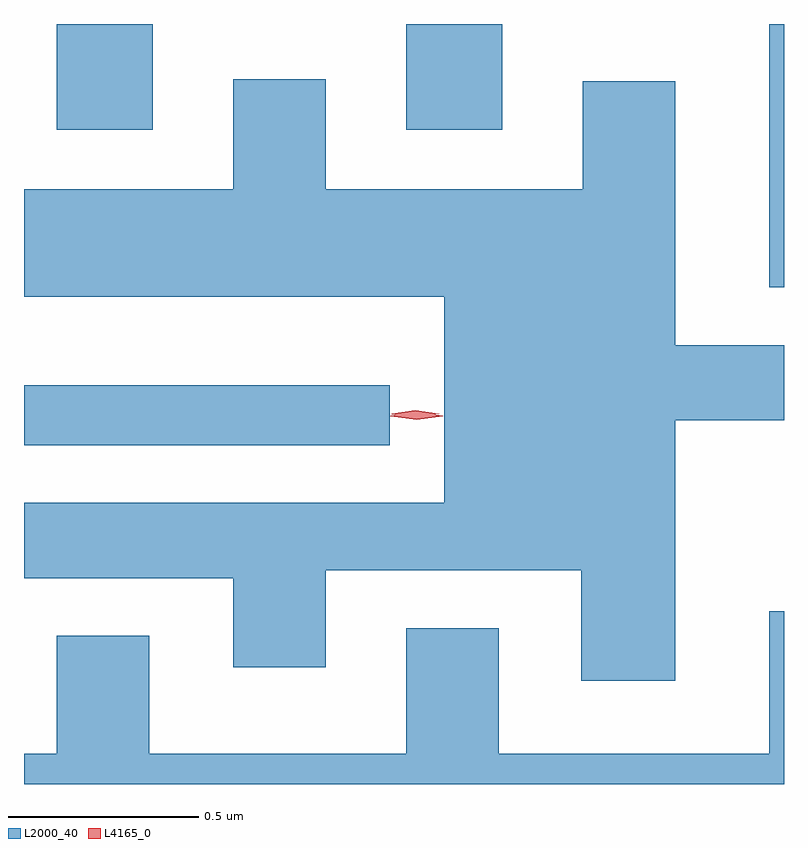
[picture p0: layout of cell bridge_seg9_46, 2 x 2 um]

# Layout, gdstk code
import gdstk
lib = gdstk.Library(unit=1e-6, precision=1e-09)
def R(c, l, rs):  # rectangles x0, y0, x1, y1
    for r in rs: c.add(gdstk.rectangle(r[:2], r[2:], *l))
def P(c, l, *ps):  # polygons
    for p in ps: c.add(gdstk.Polygon(p, *l))
L2000_40 = (2000, 40)
L4165_0 = (4165, 0)

bridge_seg9_46 = lib.new_cell('bridge_seg9_46')
R(bridge_seg9_46, L2000_40, [(1505.345,1984.016,1506.308,1984.174), (1507.306,1984.431,1507.345,1985.124), (1505.431,1984.846,1505.684,1985.124), (1506.351,1984.846,1506.604,1985.124)])
P(bridge_seg9_46, L2000_40, [(1507.059,1984.081),(1507.345,1984.081),(1507.345,1984.279),(1507.059,1984.279),(1507.059,1984.974),(1506.816,1984.974),(1506.816,1984.689),(1506.139,1984.689),(1506.139,1984.979),(1505.896,1984.979),(1505.896,1984.689),(1505.345,1984.689),(1505.345,1984.406),(1506.451,1984.406),(1506.451,1983.864),(1505.345,1983.864),(1505.345,1983.666),(1505.896,1983.666),(1505.896,1983.431),(1506.139,1983.431),(1506.139,1983.686),(1506.811,1983.686),(1506.811,1983.396),(1507.059,1983.396)],
  [(1507.345,1983.579),(1507.306,1983.579),(1507.306,1983.204),(1506.594,1983.204),(1506.594,1983.534),(1506.351,1983.534),(1506.351,1983.204),(1505.674,1983.204),(1505.674,1983.514),(1505.431,1983.514),(1505.431,1983.204),(1505.345,1983.204),(1505.345,1983.124),(1507.345,1983.124)])
P(bridge_seg9_46, L4165_0, [(1506.378,1984.082),(1506.31,1984.092),(1506.309,1984.092),(1506.31,1984.093),(1506.378,1984.102),(1506.447,1984.093),(1506.447,1984.092),(1506.447,1984.092)],
  [(1506.376,1984.088),(1506.313,1984.097),(1506.313,1984.098),(1506.313,1984.098),(1506.375,1984.108),(1506.437,1984.099),(1506.438,1984.098),(1506.437,1984.098)])

lib.write_gds('bridge_seg9_46.gds')
